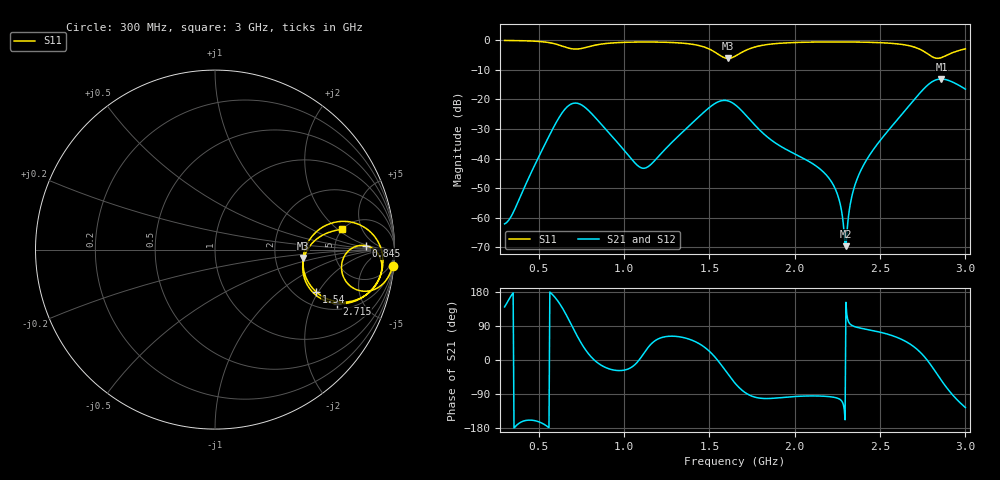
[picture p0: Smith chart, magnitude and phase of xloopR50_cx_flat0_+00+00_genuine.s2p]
! xloopR50_cx_flat0_+00+00_genuine, gap C 0.80 pF
! simulated by sim/fixtures_fdtd.py (S12 = S21, S22 not computed)
# HZ S RI R 50
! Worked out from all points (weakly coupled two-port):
!   541 points, 300 MHz to 3 GHz, reference 50 ohm
!   highest |S21| = -13.09 dB at 2.86 GHz (marker M1); lowest = -69.6 dB at 2.3 GHz (marker M2)
!   lowest |S11| = -6.1 dB at 1.61 GHz (marker M3), VSWR 2.95, Z = 145 - j17.7 ohm
!   |S11| at or under -10 dB: nowhere
!   |S22| runs from - to - dB; largest |S21 - S12| = 0
!   S11 on the Smith chart (normalised r, x): 300 MHz: 1, -21; 845 MHz: 12, +2; 1.54 GHz: 2.55, -1.92; 2.715 GHz: 2.31, -3.11; 3 GHz: 4.96, +2.30
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3e8  0.9896 -0.0922  -0.000606 0.000507  -0.000606 0.000507  0 0
6.3e8  0.7815 -0.2203  -0.0446 0.033  -0.0446 0.033  0 0
7.5e8  0.7276 -0.0254  0.0586 0.0561  0.0586 0.0561  0 0
8.45e8  0.843 0.0209  0.0444 -0.00576  0.0444 -0.00576  0 0
1.09e9  0.9298 -0.0951  0.00725 0.000147  0.00725 0.000147  0 0
1.2e9  0.9195 -0.1516  0.00607 0.00889  0.00607 0.00889  0 0
1.395e9  0.8186 -0.2662  0.0236 0.031  0.0236 0.031  0 0
1.54e9  0.5642 -0.236  0.0877 0.00586  0.0877 0.00586  0 0
1.61e9  0.4909 -0.0462  0.0744 -0.0582  0.0744 -0.0582  0 0
1.65e9  0.5333 0.0644  0.0396 -0.0716  0.0396 -0.0716  0 0
1.835e9  0.8358 0.1219  -0.00483 -0.0233  -0.00483 -0.0233  0 0
2.1e9  0.932 -0.0217  -0.000704 -0.00836  -0.000704 -0.00836  0 0
2.235e9  0.9352 -0.0814  -0.000494 -0.00316  -0.000494 -0.00316  0 0
2.265e9  0.9338 -0.0943  -0.000429 -0.00173  -0.000429 -0.00173  0 0
2.29e9  0.9321 -0.1051  -0.000341 -0.00041  -0.000341 -0.00041  0 0
2.3e9  0.9312 -0.1095  -0.000294 0.000155  -0.000294 0.000155  0 0
2.33e9  0.9281 -0.1227  -9.23e-05 0.002  -9.23e-05 0.002  0 0
2.37e9  0.9226 -0.1407  0.000372 0.00487  0.000372 0.00487  0 0
2.55e9  0.8654 -0.2315  0.0117 0.0281  0.0117 0.0281  0 0
2.715e9  0.679 -0.3011  0.0977 0.0539  0.0977 0.0539  0 0
2.86e9  0.5104 -0.00875  0.1294 -0.1799  0.1294 -0.1799  0 0
3e9  0.7079 0.1126  -0.0866 -0.1218  -0.0866 -0.1218  0 0
